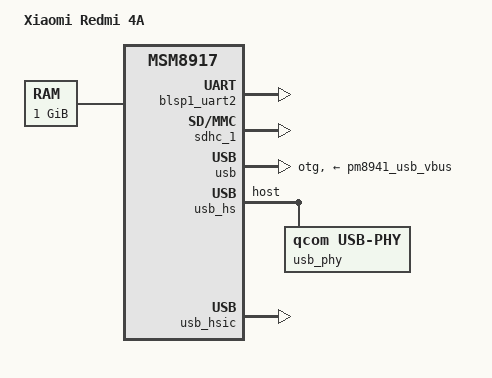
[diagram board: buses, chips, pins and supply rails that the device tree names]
/dts-v1/;
#include "msm8917.dtsi"

/ {
    model = "Xiaomi Redmi 4A";
    compatible = "xiaomi,redmi-4a", "qcom,msm8917";

    aliases {
        serial0 = &blsp1_uart2;
    };

    chosen {
        stdout-path = "serial0:115200n8";
    };

    memory {
        device_type = "memory";
        reg = <0x80000000 0x40000000>;  // 1GB RAM
    };

    cpus {
        #address-cells = <1>;
        #size-cells = <0>;
    };
};

/* UART (serial console) */
&blsp1_uart2 {
    status = "okay";
};

/* eMMC storage */
&sdhc_1 {
    status = "okay";
};

/* USB Controller */
&usb {
    status = "okay";
    dr_mode = "otg";  /* Enable USB OTG */
    vbus-supply = <&pm8941_usb_vbus>;
};

/* USB-to-LAN Gigabit Support */
&usb_hs {
    status = "okay";
    compatible = "qcom,dwc3";
    dr_mode = "host";

    usb_phy: phy {
        status = "okay";
        compatible = "qcom,usb-phy";
    };
};

&usb_hsic {
    status = "okay";
};
